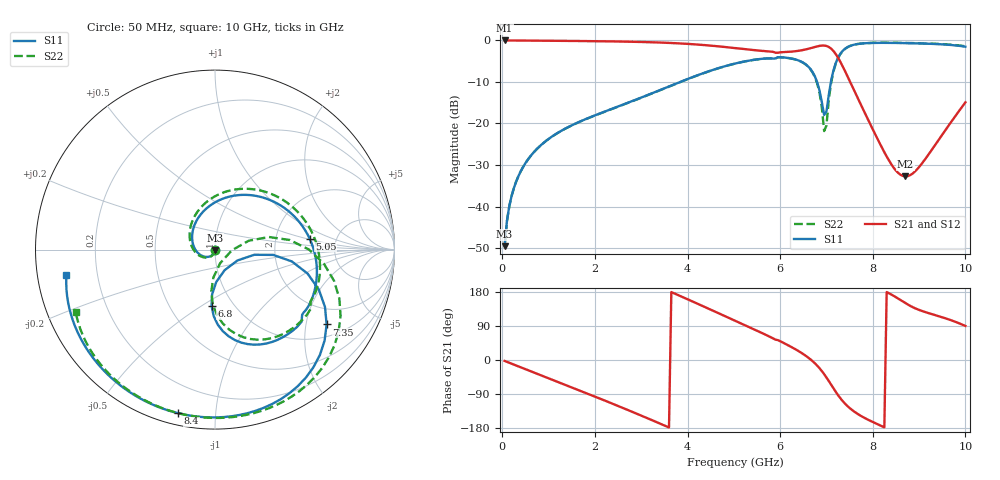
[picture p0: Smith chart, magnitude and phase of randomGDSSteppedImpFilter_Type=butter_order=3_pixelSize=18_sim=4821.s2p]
! freq	dB(S11)	phase(S11)	dB(S12)	phase(S12)
!  dB(S21)	phase(S21)	dB(S22)	phase(S22)
!S-par simulation data
#  GHz  S  DB  R 50
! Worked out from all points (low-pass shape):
!   200 points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, 50 MHz to 10 GHz, reference 50 ohm
!   highest |S21| = 0.00 dB at 50 MHz (marker M1); lowest = -32.7 dB at 8.7 GHz (marker M2)
!   |S21| within 3 dB of the highest: start of sweep to 7.182 GHz
!   lowest |S11| = -49.5 dB at 50 MHz (marker M3), VSWR 1.01, Z = 50 - j0.333 ohm
!   |S11| at or under -10 dB: start of sweep to 3.84 GHz; 6.797 GHz to 7.096 GHz (298.6 MHz wide, 4.3 % of centre)
!   |S22| runs from -49.5 to -0.6 dB; largest |S21 - S12| = 0
!   S11 on the Smith chart (normalised r, x): 50 MHz: 1.00, -0.01; 5.05 GHz: 3.16, +0.54; 6.8 GHz: 0.79, -0.55; 7.35 GHz: 1.39, -2.63; 8.4 GHz: 0.06, -0.80; 10 GHz: 0.09, -0.08
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0.05  -49.54 -91.5  -0.00 -2.4  -0.00 -2.4  -49.54 -91.2
0.2  -37.50 -99.8  -0.02 -9.6  -0.02 -9.6  -37.49 -98.8
0.5  -29.55 -115.4  -0.03 -24.0  -0.03 -24.0  -29.55 -113.1
1.15  -22.58 -149.2  -0.08 -55.2  -0.08 -55.2  -22.60 -143.8
1.75  -19.18 179.9  -0.15 -84.3  -0.15 -84.3  -19.21 -171.8
2.5  -15.91 141.2  -0.25 -121.3  -0.25 -121.3  -15.95 152.6
3.4  -11.98 94.4  -0.50 -167.5  -0.50 -167.5  -12.01 107.2
4.1  -8.87 57.5  -0.90 154.9  -0.90 154.9  -8.90 69.6
5.05  -5.50 6.7  -1.87 102.3  -1.87 102.3  -5.52 16.7
5.95  -4.04 -39.8  -2.96 52.5  -2.96 52.5  -4.05 -31.7
6.4  -4.84 -67.6  -2.49 23.3  -2.49 23.3  -4.85 -61.0
6.7  -7.61 -88.0  -1.74 -3.1  -1.74 -3.1  -7.71 -84.2
6.8  -10.07 -93.5  -1.43 -14.9  -1.43 -14.9  -10.34 -92.4
6.95  -17.96 -64.9  -1.23 -37.3  -1.23 -37.3  -21.82 -69.4
7  -17.12 -25.7  -1.33 -46.1  -1.33 -46.1  -20.49 -2.2
7.15  -7.26 -8.8  -2.54 -74.6  -2.54 -74.6  -7.52 7.3
7.35  -2.51 -33.8  -6.23 -108.3  -6.23 -108.3  -2.56 -21.5
7.75  -0.75 -69.7  -15.63 -148.0  -15.63 -148.0  -0.74 -59.1
8.35  -0.58 -100.6  -28.91 176.1  -28.91 176.1  -0.56 -90.3
8.4  -0.59 -102.7  -29.82 172.8  -29.82 172.8  -0.56 -92.4
8.7  -0.64 -114.9  -32.74 150.4  -32.74 150.4  -0.60 -104.4
10  -1.52 -170.3  -14.91 89.9  -14.91 89.9  -1.41 -156.0
